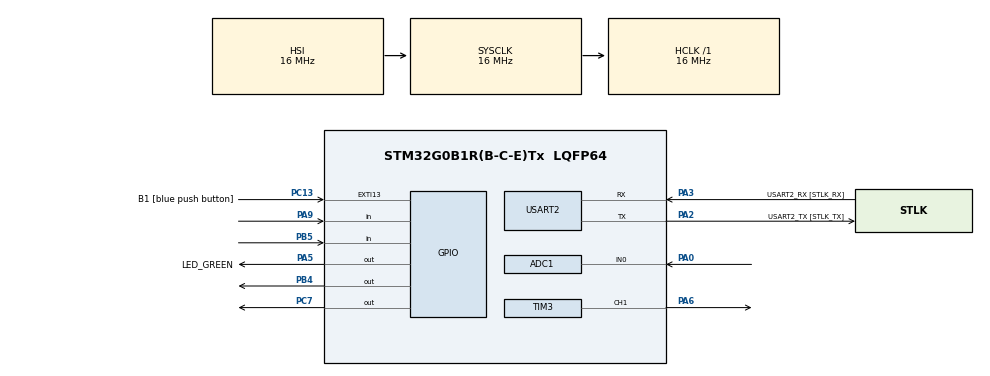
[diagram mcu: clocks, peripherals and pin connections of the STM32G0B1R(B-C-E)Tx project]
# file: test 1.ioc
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ADC1.Channel-0\#ChannelRegularConversion=ADC_CHANNEL_0
ADC1.NbrOfConversionFlag=1
ADC1.Rank-0\#ChannelRegularConversion=1
ADC1.SamplingTime-0\#ChannelRegularConversion=ADC_SAMPLINGTIME_COMMON_1
ADC1.SamplingTimeCommon1=ADC_SAMPLETIME_160CYCLES_5
ADC1.SelectedChannel=ADC_CHANNEL_0
ADC1.master=1
FREERTOS.Tasks01=SafetyTask,40,256,StartSafetyTask,Default,NULL,Dynamic,NULL,NULL;SensorTask,32,256,StartSensorTask,Default,NULL,Dynamic,NULL,NULL;ButtonTask,16,128,StartButtonTask,Default,NULL,Dynamic,NULL,NULL;ControlTask,24,384,StartControlTask,Default,NULL,Dynamic,NULL,NULL;DisplayTask,8,384,StartDisplayTask,Default,NULL,Dynamic,NULL,NULL
FREERTOS.configTOTAL_HEAP_SIZE=12288
Mcu.Family=STM32G0
Mcu.Name=STM32G0B1R(B-C-E)Tx
Mcu.Package=LQFP64
NVIC.TIM6_DAC_LPTIM1_IRQn=true\:3\:0\:false\:false\:true\:false\:false\:true\:true
NVIC.TimeBase=TIM6_DAC_LPTIM1_IRQn
NVIC.TimeBaseIP=TIM6
PA0.Mode=IN0
PA0.Signal=ADC1_IN0
PA13.GPIO_Label=TMS
PA13.Mode=Serial_Wire
PA13.Signal=SYS_SWDIO
PA14-BOOT0.GPIO_Label=TCK
PA14-BOOT0.Mode=Serial_Wire
PA14-BOOT0.Signal=SYS_SWCLK
PA2.GPIO_Label=USART2_TX [STLK_TX]
PA2.Mode=Asynchronous
PA2.Signal=USART2_TX
PA3.GPIO_Label=USART2_RX [STLK_RX]
PA3.Mode=Asynchronous
PA3.Signal=USART2_RX
PA5.GPIO_Label=LED_GREEN
PA5.GPIO_Speed=GPIO_SPEED_FREQ_HIGH
PA5.Signal=GPIO_Output
PA6.Signal=S_TIM3_CH1
PA9.Signal=GPIO_Input
PB4.Signal=GPIO_Output
PB5.GPIO_PuPd=GPIO_PULLUP
PB5.Signal=GPIO_Input
PC13.GPIO_Label=B1 [blue push button]
PC13.Signal=GPXTI13
PC14-OSC32_IN\ (PC14).Mode=LSE-External-Oscillator
PC14-OSC32_IN\ (PC14).Signal=RCC_OSC32_IN
PC15-OSC32_OUT\ (PC15).Mode=LSE-External-Oscillator
PC15-OSC32_OUT\ (PC15).Signal=RCC_OSC32_OUT
PC7.Signal=GPIO_Output
PF0-OSC_IN\ (PF0).GPIO_Label=MCO
PF0-OSC_IN\ (PF0).Mode=HSE-External-Clock-Source
PF0-OSC_IN\ (PF0).Signal=RCC_OSC_IN
ProjectManager.HeapSize=0x200
ProjectManager.StackSize=0x400
ProjectManager.TargetToolchain=STM32CubeIDE
RCC.AHBFreq_Value=16000000
RCC.CortexFreq_Value=16000000
RCC.EXTERNAL_CLOCK_VALUE=12288000
RCC.HCLKFreq_Value=16000000
RCC.HSE_VALUE=8000000
RCC.HSI48_VALUE=48000000
RCC.HSI_VALUE=16000000
RCC.SYSCLKFreq_VALUE=16000000
RCC.USBFreq_Value=48000000
RCC.VCOOutputFreq_Value=128000000
SH.S_TIM3_CH1.0=TIM3_CH1,PWM Generation1 CH1
TIM3.Channel-PWM\ Generation1\ CH1=TIM_CHANNEL_1
USART2.VirtualMode-Asynchronous=VM_ASYNC
VP_FREERTOS_VS_CMSIS_V2.Mode=CMSIS_V2
VP_SYS_VS_DBSignals.Mode=DisableDeadBatterySignals
VP_SYS_VS_tim6.Mode=TIM6
board=NUCLEO-G0B1RE

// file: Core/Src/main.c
/* USER CODE BEGIN Header */
/**
  ******************************************************************************
  * @file           : main.c
  * @brief          : Main program body
  ******************************************************************************
  * @attention
  *
  * Copyright (c) 2026 STMicroelectronics.
  * All rights reserved.
  *
  * This software is licensed under terms that can be found in the LICENSE file
  * in the root directory of this software component.
  * If no LICENSE file comes with this software, it is provided AS-IS.
  *
  ******************************************************************************
  */
/* USER CODE END Header */
#include "main.h"
#include "cmsis_os.h"

/* USER CODE BEGIN Includes */
#include <stdint.h>
#include <stdbool.h>
#include "mw_gpio.h"
#include "mw_time.h"
#include "mw_uart.h"
#include "mw_adc.h"
#include "mw_pwm.h"
#include "../../middleware/os/mw_os.h"
#include "lib_fem.h"
#include "drv_hx710b.h"
#include "drv_pump.h"
#include "drv_valve.h"
#include "drv_pot.h"
#include "app_pad.h"
/* USER CODE END Includes */

ADC_HandleTypeDef hadc1;

TIM_HandleTypeDef htim3;

UART_HandleTypeDef huart2;

/* Definitions for SafetyTask */
osThreadId_t SafetyTaskHandle;
const osThreadAttr_t SafetyTask_attributes = {
  .name = "SafetyTask",
  .priority = (osPriority_t) osPriorityHigh,
  .stack_size = 256 * 4
};
/* Definitions for SensorTask */
osThreadId_t SensorTaskHandle;
const osThreadAttr_t SensorTask_attributes = {
  .name = "SensorTask",
  .priority = (osPriority_t) osPriorityAboveNormal,
  .stack_size = 256 * 4
};
/* Definitions for ButtonTask */
osThreadId_t ButtonTaskHandle;
const osThreadAttr_t ButtonTask_attributes = {
  .name = "ButtonTask",
  .priority = (osPriority_t) osPriorityBelowNormal,
  .stack_size = 128 * 4
};
/* Definitions for ControlTask */
osThreadId_t ControlTaskHandle;
const osThreadAttr_t ControlTask_attributes = {
  .name = "ControlTask",
  .priority = (osPriority_t) osPriorityNormal,
  .stack_size = 384 * 4
};
/* Definitions for DisplayTask */
osThreadId_t DisplayTaskHandle;
const osThreadAttr_t DisplayTask_attributes = {
  .name = "DisplayTask",
  .priority = (osPriority_t) osPriorityLow,
  .stack_size = 384 * 4
};
/* USER CODE BEGIN PV */
static DRV_HX710B_Handle_t MAIN_sensor1_handle;
static DRV_HX710B_Handle_t MAIN_sensor2_handle;
static DRV_PUMP_Handle_t   MAIN_pump_handle;
static DRV_VALVE_Handle_t  MAIN_valve1_handle;
static DRV_VALVE_Handle_t  MAIN_valve2_handle;
static DRV_POT_Handle_t    MAIN_pot_handle;
static const char         *MAIN_wiring_step = "start";
/* USER CODE END PV */

void SystemClock_Config(void);
static void MX_GPIO_Init(void);
static void MX_USART2_UART_Init(void);
static void MX_ADC1_Init(void);
static void MX_TIM3_Init(void);
void StartSafetyTask(void *argument);
void StartSensorTask(void *argument);
void StartButtonTask(void *argument);
void StartControlTask(void *argument);
void StartDisplayTask(void *argument);

/* USER CODE BEGIN PFP */
static bool APP_Main_WireModules(void);
static void APP_Main_ReportWiringFailure(void);
/* USER CODE END PFP */

int main(void)
{

  /* MCU Configuration--------------------------------------------------------*/

  /* Reset of all peripherals, Initializes the Flash interface and the Systick. */
  HAL_Init();

  /* Configure the system clock */
  SystemClock_Config();

  /* Initialize all configured peripherals */
  MX_GPIO_Init();
  MX_USART2_UART_Init();
  MX_ADC1_Init();
  MX_TIM3_Init();
  /* USER CODE BEGIN 2 */
  if (!APP_Main_WireModules())
  {
    APP_Main_ReportWiringFailure();
    Error_Handler();
  }
  /* USER CODE END 2 */

  /* Init scheduler */
  osKernelInitialize();

  /* USER CODE BEGIN RTOS_MUTEX */
  (void)MW_OS_Init();
  /* USER CODE END RTOS_MUTEX */

  /* Create the thread(s) */
  /* creation of SafetyTask */
  SafetyTaskHandle = osThreadNew(StartSafetyTask, NULL, &SafetyTask_attributes);

  /* creation of SensorTask */
  SensorTaskHandle = osThreadNew(StartSensorTask, NULL, &SensorTask_attributes);

  /* creation of ButtonTask */
  ButtonTaskHandle = osThreadNew(StartButtonTask, NULL, &ButtonTask_attributes);

  /* creation of ControlTask */
  ControlTaskHandle = osThreadNew(StartControlTask, NULL, &ControlTask_attributes);

  /* creation of DisplayTask */
  DisplayTaskHandle = osThreadNew(StartDisplayTask, NULL, &DisplayTask_attributes);

  /* Start scheduler */
  osKernelStart();

  /* We should never get here as control is now taken by the scheduler */

  /* Infinite loop */
  while (1)
  {

  }
}

void SystemClock_Config(void)
{
  RCC_OscInitTypeDef RCC_OscInitStruct = {0};
  RCC_ClkInitTypeDef RCC_ClkInitStruct = {0};

  /** Configure the main internal regulator output voltage
  */
  HAL_PWREx_ControlVoltageScaling(PWR_REGULATOR_VOLTAGE_SCALE1);

  /** Initializes the RCC Oscillators according to the specified parameters
  * in the RCC_OscInitTypeDef structure.
  */
  RCC_OscInitStruct.OscillatorType = RCC_OSCILLATORTYPE_HSI;
  RCC_OscInitStruct.HSIState = RCC_HSI_ON;
  RCC_OscInitStruct.HSIDiv = RCC_HSI_DIV1;
  RCC_OscInitStruct.HSICalibrationValue = RCC_HSICALIBRATION_DEFAULT;
  RCC_OscInitStruct.PLL.PLLState = RCC_PLL_NONE;
  if (HAL_RCC_OscConfig(&RCC_OscInitStruct) != HAL_OK)
  {
    Error_Handler();
  }

  /** Initializes the CPU, AHB and APB buses clocks
  */
  RCC_ClkInitStruct.ClockType = RCC_CLOCKTYPE_HCLK|RCC_CLOCKTYPE_SYSCLK
                              |RCC_CLOCKTYPE_PCLK1;
  RCC_ClkInitStruct.SYSCLKSource = RCC_SYSCLKSOURCE_HSI;
  RCC_ClkInitStruct.AHBCLKDivider = RCC_SYSCLK_DIV1;
  RCC_ClkInitStruct.APB1CLKDivider = RCC_HCLK_DIV1;

  if (HAL_RCC_ClockConfig(&RCC_ClkInitStruct, FLASH_LATENCY_0) != HAL_OK)
  {
    Error_Handler();
  }
}

static void MX_ADC1_Init(void)
{

  ADC_ChannelConfTypeDef sConfig = {0};

  /** Configure the global features of the ADC (Clock, Resolution, Data Alignment and number of conversion)
  */
  hadc1.Instance = ADC1;
  hadc1.Init.ClockPrescaler = ADC_CLOCK_SYNC_PCLK_DIV2;
  hadc1.Init.Resolution = ADC_RESOLUTION_12B;
  hadc1.Init.DataAlign = ADC_DATAALIGN_RIGHT;
  hadc1.Init.ScanConvMode = ADC_SCAN_DISABLE;
  hadc1.Init.EOCSelection = ADC_EOC_SINGLE_CONV;
  hadc1.Init.LowPowerAutoWait = DISABLE;
  hadc1.Init.LowPowerAutoPowerOff = DISABLE;
  hadc1.Init.ContinuousConvMode = DISABLE;
  hadc1.Init.NbrOfConversion = 1;
  hadc1.Init.DiscontinuousConvMode = DISABLE;
  hadc1.Init.ExternalTrigConv = ADC_SOFTWARE_START;
  hadc1.Init.ExternalTrigConvEdge = ADC_EXTERNALTRIGCONVEDGE_NONE;
  hadc1.Init.DMAContinuousRequests = DISABLE;
  hadc1.Init.Overrun = ADC_OVR_DATA_PRESERVED;
  hadc1.Init.SamplingTimeCommon1 = ADC_SAMPLETIME_160CYCLES_5;
  hadc1.Init.SamplingTimeCommon2 = ADC_SAMPLETIME_1CYCLE_5;
  hadc1.Init.OversamplingMode = DISABLE;
  hadc1.Init.TriggerFrequencyMode = ADC_TRIGGER_FREQ_HIGH;
  if (HAL_ADC_Init(&hadc1) != HAL_OK)
  {
    Error_Handler();
  }

  /** Configure Regular Channel
  */
  sConfig.Channel = ADC_CHANNEL_0;
  sConfig.Rank = ADC_REGULAR_RANK_1;
  sConfig.SamplingTime = ADC_SAMPLINGTIME_COMMON_1;
  if (HAL_ADC_ConfigChannel(&hadc1, &sConfig) != HAL_OK)
  {
    Error_Handler();
  }

}

static void MX_TIM3_Init(void)
{

  TIM_MasterConfigTypeDef sMasterConfig = {0};
  TIM_OC_InitTypeDef sConfigOC = {0};

  htim3.Instance = TIM3;
  htim3.Init.Prescaler = 0;
  htim3.Init.CounterMode = TIM_COUNTERMODE_UP;
  htim3.Init.Period = 65535;
  htim3.Init.ClockDivision = TIM_CLOCKDIVISION_DIV1;
  htim3.Init.AutoReloadPreload = TIM_AUTORELOAD_PRELOAD_DISABLE;
  if (HAL_TIM_PWM_Init(&htim3) != HAL_OK)
  {
    Error_Handler();
  }
  sMasterConfig.MasterOutputTrigger = TIM_TRGO_RESET;
  sMasterConfig.MasterSlaveMode = TIM_MASTERSLAVEMODE_DISABLE;
  if (HAL_TIMEx_MasterConfigSynchronization(&htim3, &sMasterConfig) != HAL_OK)
  {
    Error_Handler();
  }
  sConfigOC.OCMode = TIM_OCMODE_PWM1;
  sConfigOC.Pulse = 0;
  sConfigOC.OCPolarity = TIM_OCPOLARITY_HIGH;
  sConfigOC.OCFastMode = TIM_OCFAST_DISABLE;
  if (HAL_TIM_PWM_ConfigChannel(&htim3, &sConfigOC, TIM_CHANNEL_1) != HAL_OK)
  {
    Error_Handler();
  }
  HAL_TIM_MspPostInit(&htim3);

}

static void MX_USART2_UART_Init(void)
{

  huart2.Instance = USART2;
  huart2.Init.BaudRate = 115200;
  huart2.Init.WordLength = UART_WORDLENGTH_8B;
  huart2.Init.StopBits = UART_STOPBITS_1;
  huart2.Init.Parity = UART_PARITY_NONE;
  huart2.Init.Mode = UART_MODE_TX_RX;
  huart2.Init.HwFlowCtl = UART_HWCONTROL_NONE;
  huart2.Init.OverSampling = UART_OVERSAMPLING_16;
  huart2.Init.OneBitSampling = UART_ONE_BIT_SAMPLE_DISABLE;
  huart2.Init.ClockPrescaler = UART_PRESCALER_DIV1;
  huart2.AdvancedInit.AdvFeatureInit = UART_ADVFEATURE_NO_INIT;
  if (HAL_UART_Init(&huart2) != HAL_OK)
  {
    Error_Handler();
  }
  if (HAL_UARTEx_SetTxFifoThreshold(&huart2, UART_TXFIFO_THRESHOLD_1_8) != HAL_OK)
  {
    Error_Handler();
  }
  if (HAL_UARTEx_SetRxFifoThreshold(&huart2, UART_RXFIFO_THRESHOLD_1_8) != HAL_OK)
  {
    Error_Handler();
  }
  if (HAL_UARTEx_DisableFifoMode(&huart2) != HAL_OK)
  {
    Error_Handler();
  }

}

static void MX_GPIO_Init(void)
{
  GPIO_InitTypeDef GPIO_InitStruct = {0};

  /* GPIO Ports Clock Enable */
  __HAL_RCC_GPIOC_CLK_ENABLE();
  __HAL_RCC_GPIOF_CLK_ENABLE();
  __HAL_RCC_GPIOA_CLK_ENABLE();
  __HAL_RCC_GPIOB_CLK_ENABLE();

  /*Configure GPIO pin Output Level */
  HAL_GPIO_WritePin(LED_GREEN_GPIO_Port, LED_GREEN_Pin, GPIO_PIN_RESET);

  /*Configure GPIO pin Output Level */
  HAL_GPIO_WritePin(GPIOC, GPIO_PIN_7, GPIO_PIN_RESET);

  /*Configure GPIO pin Output Level */
  HAL_GPIO_WritePin(GPIOB, GPIO_PIN_4, GPIO_PIN_RESET);

  /*Configure GPIO pin : B1_Pin */
  GPIO_InitStruct.Pin = B1_Pin;
  GPIO_InitStruct.Mode = GPIO_MODE_IT_RISING;
  GPIO_InitStruct.Pull = GPIO_NOPULL;
  HAL_GPIO_Init(B1_GPIO_Port, &GPIO_InitStruct);

  /*Configure GPIO pin : LED_GREEN_Pin */
  GPIO_InitStruct.Pin = LED_GREEN_Pin;
  GPIO_InitStruct.Mode = GPIO_MODE_OUTPUT_PP;
  GPIO_InitStruct.Pull = GPIO_NOPULL;
  GPIO_InitStruct.Speed = GPIO_SPEED_FREQ_HIGH;
  HAL_GPIO_Init(LED_GREEN_GPIO_Port, &GPIO_InitStruct);

  /*Configure GPIO pin : PA9 */
  GPIO_InitStruct.Pin = GPIO_PIN_9;
  GPIO_InitStruct.Mode = GPIO_MODE_INPUT;
  GPIO_InitStruct.Pull = GPIO_NOPULL;
  HAL_GPIO_Init(GPIOA, &GPIO_InitStruct);

  /*Configure GPIO pin : PC7 */
  GPIO_InitStruct.Pin = GPIO_PIN_7;
  GPIO_InitStruct.Mode = GPIO_MODE_OUTPUT_PP;
  GPIO_InitStruct.Pull = GPIO_NOPULL;
  GPIO_InitStruct.Speed = GPIO_SPEED_FREQ_LOW;
  HAL_GPIO_Init(GPIOC, &GPIO_InitStruct);

  /*Configure GPIO pin : PB4 */
  GPIO_InitStruct.Pin = GPIO_PIN_4;
  GPIO_InitStruct.Mode = GPIO_MODE_OUTPUT_PP;
  GPIO_InitStruct.Pull = GPIO_NOPULL;
  GPIO_InitStruct.Speed = GPIO_SPEED_FREQ_LOW;
  HAL_GPIO_Init(GPIOB, &GPIO_InitStruct);

  /*Configure GPIO pin : PB5 */
  GPIO_InitStruct.Pin = GPIO_PIN_5;
  GPIO_InitStruct.Mode = GPIO_MODE_INPUT;
  GPIO_InitStruct.Pull = GPIO_PULLUP;
  HAL_GPIO_Init(GPIOB, &GPIO_InitStruct);

}

/* USER CODE BEGIN 4 */

/**
 * @brief  Wire middleware, drivers and application together. The only place this happens.
 * @return true if every module initialised, false if a wiring step failed.
 * @note   A sensor or valve failure inside APP_Pad_Init is reported through LIB_FEM and
 *         leaves the application in FAULT. It is not a wiring error, so it does not make
 *         this function return false.
 */
static bool APP_Main_WireModules(void)
{
  bool wiring_ok = false;

  const LIB_FEM_Config_t fem_cfg =
  {
    .get_ms   = MW_TIME_If.get_ms,
    .on_event = APP_Pad_OnFemEvent
  };

  const DRV_HX710B_Config_t sensor1_cfg =
  {
    .gpio_set    = MW_GPIO_If.set,
    .gpio_read   = MW_GPIO_If.read,
    .delay_us    = MW_TIME_If.delay_us,
    .dout_pin_id = MW_GPIO_PIN_S1_DOUT,
    .sclk_pin_id = MW_GPIO_PIN_S1_SCLK
  };

  const DRV_HX710B_Config_t sensor2_cfg =
  {
    .gpio_set    = MW_GPIO_If.set,
    .gpio_read   = MW_GPIO_If.read,
    .delay_us    = MW_TIME_If.delay_us,
    .dout_pin_id = MW_GPIO_PIN_S2_DOUT,
    .sclk_pin_id = MW_GPIO_PIN_S2_SCLK
  };

  const DRV_PUMP_Config_t pump_cfg =
  {
    .gpio_set       = MW_GPIO_If.set,
    .enable_pin_id  = MW_GPIO_PIN_PUMP,
    .pwm_set        = MW_PWM_If.set_duty,
    .pwm_channel_id = MW_PWM_CH_PUMP
  };

  const DRV_VALVE_Config_t valve1_cfg =
  {
    .gpio_set = MW_GPIO_If.set,
    .pin_id   = MW_GPIO_PIN_VALVE1
  };

  const DRV_VALVE_Config_t valve2_cfg =
  {
    .gpio_set = MW_GPIO_If.set,
    .pin_id   = MW_GPIO_PIN_VALVE2
  };

  const DRV_POT_Config_t pot_cfg =
  {
    .adc_read      = MW_ADC_If.read_voltage,
    .channel_id    = MW_ADC_CH_POT,
    .full_scale_mv = MW_ADC_VREF_MV
  };

  const APP_Pad_Config_t app_cfg =
  {
    .sensor1         = &MAIN_sensor1_handle,
    .sensor2         = &MAIN_sensor2_handle,
    .pump            = &MAIN_pump_handle,
    .valve1          = &MAIN_valve1_handle,
    .valve2          = &MAIN_valve2_handle,
    .pot             = &MAIN_pot_handle,
    .gpio_set        = MW_GPIO_If.set,
    .gpio_read       = MW_GPIO_If.read,
    .get_ms          = MW_TIME_If.get_ms,
    .uart_write      = MW_UART_If.write,
    .os_lock         = MW_OS_If.lock,
    .os_unlock       = MW_OS_If.unlock,
    .os_sched_lock   = MW_OS_If.sched_lock,
    .os_sched_unlock = MW_OS_If.sched_unlock,
    .button_pin_id   = MW_GPIO_PIN_BUTTON,
    .led_pin_id      = MW_GPIO_PIN_LED_GREEN
  };

  MW_GPIO_Init();

  MAIN_wiring_step = "uart";
  wiring_ok = MW_UART_Init(&huart2);

  if (wiring_ok)
  {
    MAIN_wiring_step = "adc";
    wiring_ok = MW_ADC_Init();
  }

  if (wiring_ok)
  {
    MAIN_wiring_step = "pwm";
    wiring_ok = MW_PWM_Init();
  }

  if (wiring_ok)
  {
    MAIN_wiring_step = "fem";
    wiring_ok = LIB_FEM_Init(&fem_cfg);
  }

  if (wiring_ok)
  {
    MAIN_wiring_step = "sensor1";
    wiring_ok = DRV_HX710B_Init(&MAIN_sensor1_handle, &sensor1_cfg);
  }

  if (wiring_ok)
  {
    MAIN_wiring_step = "sensor2";
    wiring_ok = DRV_HX710B_Init(&MAIN_sensor2_handle, &sensor2_cfg);
  }

  if (wiring_ok)
  {
    MAIN_wiring_step = "pump";
    wiring_ok = DRV_PUMP_Init(&MAIN_pump_handle, &pump_cfg);
  }

  if (wiring_ok)
  {
    MAIN_wiring_step = "valve1";
    wiring_ok = DRV_VALVE_Init(&MAIN_valve1_handle, &valve1_cfg);
  }

  if (wiring_ok)
  {
    MAIN_wiring_step = "valve2";
    wiring_ok = DRV_VALVE_Init(&MAIN_valve2_handle, &valve2_cfg);
  }

  if (wiring_ok)
  {
    MAIN_wiring_step = "pot";
    wiring_ok = DRV_POT_Init(&MAIN_pot_handle, &pot_cfg);
  }

  if (wiring_ok)
  {
    /* The cause of a failure is reported through LIB_FEM inside APP_Pad_Init. */
    (void)APP_Pad_Init(&app_cfg);
  }

  return wiring_ok;
}

/**
 * @brief  Print which wiring step failed, so a start-up failure is never silent.
 * @note   Uses the UART directly. If the UART itself failed, nothing can be printed and
 *         the green LED stays off.
 */
static void APP_Main_ReportWiringFailure(void)
{
  static const char prefix[] = "WIRING FAILED at step: ";
  uint16_t          length   = 0U;

  while (MAIN_wiring_step[length] != '\0')
  {
    length++;
  }

  (void)HAL_UART_Transmit(&huart2, (uint8_t *)prefix, (uint16_t)(sizeof(prefix) - 1U), 100U);
  (void)HAL_UART_Transmit(&huart2, (uint8_t *)MAIN_wiring_step, length, 100U);
  (void)HAL_UART_Transmit(&huart2, (uint8_t *)"\r\n", 2U, 100U);
}

/* USER CODE END 4 */

void StartSafetyTask(void *argument)
{
  /* USER CODE BEGIN 5 */
  /* Infinite loop */
  for(;;)
  {
    APP_Pad_RunSafety();
    osDelay(APP_PAD_SAFETY_TASK_PERIOD_MS);
  }
  /* USER CODE END 5 */
}

void StartSensorTask(void *argument)
{
  /* USER CODE BEGIN StartSensorTask */
  /* Infinite loop */
  for(;;)
  {
    APP_Pad_RunSensors();
    osDelay(APP_PAD_SENSOR_TASK_PERIOD_MS);
  }
  /* USER CODE END StartSensorTask */
}

void StartButtonTask(void *argument)
{
  /* USER CODE BEGIN StartButtonTask */
  /* Infinite loop */
  for(;;)
  {
    APP_Pad_RunButton();
    osDelay(APP_PAD_BUTTON_TASK_PERIOD_MS);
  }
  /* USER CODE END StartButtonTask */
}

void StartControlTask(void *argument)
{
  /* USER CODE BEGIN StartControlTask */
  /* Infinite loop */
  for(;;)
  {
    APP_Pad_RunControl();
    osDelay(APP_PAD_CONTROL_TASK_PERIOD_MS);
  }
  /* USER CODE END StartControlTask */
}

void StartDisplayTask(void *argument)
{
  /* USER CODE BEGIN StartDisplayTask */
  /* Infinite loop */
  for(;;)
  {
    APP_Pad_RunDisplay();
    osDelay(APP_PAD_DISPLAY_TASK_PERIOD_MS);
  }
  /* USER CODE END StartDisplayTask */
}

void HAL_TIM_PeriodElapsedCallback(TIM_HandleTypeDef *htim)
{
  if (htim->Instance == TIM6)
  {
    HAL_IncTick();
  }
}

void Error_Handler(void)
{
  __disable_irq();
  while (1)
  {
  }
}

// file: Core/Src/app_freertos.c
/* USER CODE BEGIN Header */
/**
  ******************************************************************************
  * File Name          : app_freertos.c
  * Description        : Code for freertos applications
  ******************************************************************************
  * @attention
  *
  * Copyright (c) 2026 STMicroelectronics.
  * All rights reserved.
  *
  * This software is licensed under terms that can be found in the LICENSE file
  * in the root directory of this software component.
  * If no LICENSE file comes with this software, it is provided AS-IS.
  *
  ******************************************************************************
  */
/* USER CODE END Header */

#include "FreeRTOS.h"
#include "task.h"
#include "main.h"
#include "cmsis_os2.h"
#if __has_include("app_freertos.h")
#include "app_freertos.h"
#endif

/* USER CODE BEGIN Includes */
#include "app_pad.h"
#include "../../middleware/os/mw_os.h"
/* USER CODE END Includes */

/* Definitions for SafetyTask */
osThreadId_t SafetyTaskHandle;
const osThreadAttr_t SafetyTask_attributes = {
  .name = "SafetyTask",
  .stack_size = 256 * 4,
  .priority = (osPriority_t) osPriorityHigh,
};
/* Definitions for SensorTask */
osThreadId_t SensorTaskHandle;
const osThreadAttr_t SensorTask_attributes = {
  .name = "SensorTask",
  .stack_size = 256 * 4,
  .priority = (osPriority_t) osPriorityAboveNormal,
};
/* Definitions for ButtonTask */
osThreadId_t ButtonTaskHandle;
const osThreadAttr_t ButtonTask_attributes = {
  .name = "ButtonTask",
  .stack_size = 128 * 4,
  .priority = (osPriority_t) osPriorityAboveNormal,
};
/* Definitions for ControlTask */
osThreadId_t ControlTaskHandle;
const osThreadAttr_t ControlTask_attributes = {
  .name = "ControlTask",
  .stack_size = 384 * 4,
  .priority = (osPriority_t) osPriorityNormal,
};
/* Definitions for DisplayTask */
osThreadId_t DisplayTaskHandle;
const osThreadAttr_t DisplayTask_attributes = {
  .name = "DisplayTask",
  .stack_size = 384 * 4,
  .priority = (osPriority_t) osPriorityLow,
};

void StartSafetyTask(void *argument);
void StartSensorTask(void *argument);
void StartButtonTask(void *argument);
void StartControlTask(void *argument);
void StartDisplayTask(void *argument);

void MX_FREERTOS_Init(void); /* (MISRA C 2004 rule 8.1) */

void MX_FREERTOS_Init(void) {

  /* USER CODE BEGIN RTOS_MUTEX */
  (void)MW_OS_Init();
  /* USER CODE END RTOS_MUTEX */

  /* Create the thread(s) */
  /* creation of SafetyTask */
  SafetyTaskHandle = osThreadNew(StartSafetyTask, NULL, &SafetyTask_attributes);

  /* creation of SensorTask */
  SensorTaskHandle = osThreadNew(StartSensorTask, NULL, &SensorTask_attributes);

  /* creation of ButtonTask */
  ButtonTaskHandle = osThreadNew(StartButtonTask, NULL, &ButtonTask_attributes);

  /* creation of ControlTask */
  ControlTaskHandle = osThreadNew(StartControlTask, NULL, &ControlTask_attributes);

  /* creation of DisplayTask */
  DisplayTaskHandle = osThreadNew(StartDisplayTask, NULL, &DisplayTask_attributes);

}

/* USER CODE BEGIN Header_StartSafetyTask */
/**
  * @brief  Safety task: checks for a lost sensor and for over-pressure.
  * @param  argument: Not used
  * @retval None
  */
/* USER CODE END Header_StartSafetyTask */
void StartSafetyTask(void *argument)
{
  /* USER CODE BEGIN StartSafetyTask */
  /* Infinite loop */
  for(;;)
  {
    APP_Pad_RunSafety();
    osDelay(APP_PAD_SAFETY_TASK_PERIOD_MS);
  }
  /* USER CODE END StartSafetyTask */
}

/* USER CODE BEGIN Header_StartSensorTask */
/**
* @brief Sensor task: reads both pressure sensors and the knob.
* @param argument: Not used
* @retval None
*/
/* USER CODE END Header_StartSensorTask */
void StartSensorTask(void *argument)
{
  /* USER CODE BEGIN StartSensorTask */
  /* Infinite loop */
  for(;;)
  {
    APP_Pad_RunSensors();
    osDelay(APP_PAD_SENSOR_TASK_PERIOD_MS);
  }
  /* USER CODE END StartSensorTask */
}

/* USER CODE BEGIN Header_StartButtonTask */
/**
* @brief Button task: reads and debounces the button.
* @param argument: Not used
* @retval None
*/
/* USER CODE END Header_StartButtonTask */
void StartButtonTask(void *argument)
{
  /* USER CODE BEGIN StartButtonTask */
  /* Infinite loop */
  for(;;)
  {
    APP_Pad_RunButton();
    osDelay(APP_PAD_BUTTON_TASK_PERIOD_MS);
  }
  /* USER CODE END StartButtonTask */
}

/* USER CODE BEGIN Header_StartControlTask */
/**
* @brief Control task: fill, hold, transfer and refill.
* @param argument: Not used
* @retval None
*/
/* USER CODE END Header_StartControlTask */
void StartControlTask(void *argument)
{
  /* USER CODE BEGIN StartControlTask */
  /* Infinite loop */
  for(;;)
  {
    APP_Pad_RunControl();
    osDelay(APP_PAD_CONTROL_TASK_PERIOD_MS);
  }
  /* USER CODE END StartControlTask */
}

/* USER CODE BEGIN Header_StartDisplayTask */
/**
* @brief Display task: status line and LED blink codes.
* @param argument: Not used
* @retval None
*/
/* USER CODE END Header_StartDisplayTask */
void StartDisplayTask(void *argument)
{
  /* USER CODE BEGIN StartDisplayTask */
  /* Infinite loop */
  for(;;)
  {
    APP_Pad_RunDisplay();
    osDelay(APP_PAD_DISPLAY_TASK_PERIOD_MS);
  }
  /* USER CODE END StartDisplayTask */
}
